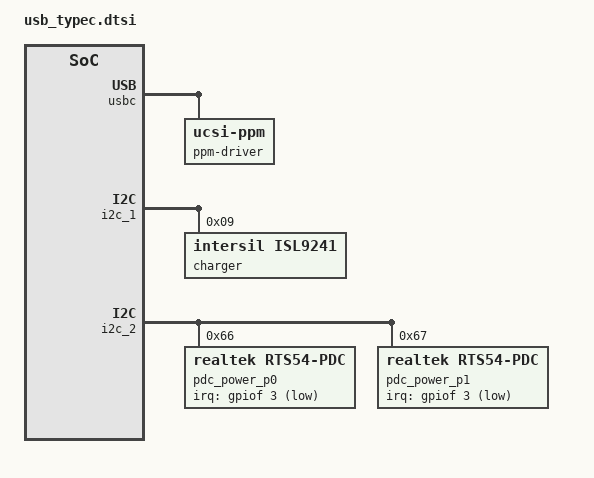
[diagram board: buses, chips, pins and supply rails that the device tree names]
/* Copyright 2025 The ChromiumOS Authors
 * Use of this source code is governed by a BSD-style license that can be
 * found in the LICENSE file.
 */

#include <usbc-policy.dtsi>

/ {
	usbc {
		#address-cells = <1>;
		#size-cells = <0>;

		usbc_port0: port0@0 {
			compatible = "named-usbc-port";
			reg = <0>;
			chg = <&charger>;
			pdc = <&pdc_power_p0>;
			pd-retimer;
			policy = <&cros_policy>;
		};
		usbc_port1: port1@1 {
			compatible = "named-usbc-port";
			reg = <1>;
			pdc = <&pdc_power_p1>;
			pd-retimer;
			policy = <&cros_policy>;
		};
		ppm-driver {
			compatible = "ucsi-ppm";
		};
	};
};

&i2c_1 {
	charger: isl9241@9 {
		compatible = "intersil,isl9241";
		status = "okay";
		reg = <0x9>;
	};
};

&i2c_2 {
	pdc_power_p0: rts54-pdc@66 {
		compatible = "realtek,rts54-pdc";
		reg = <0x66>;
		irq-gpios = <&gpiof 3 GPIO_ACTIVE_LOW>;
		ccd;
		usb4-capable-as-host;
	};
	pdc_power_p1: rts54-pdc@67 {
		compatible = "realtek,rts54-pdc";
		reg = <0x67>;
		irq-gpios = <&gpiof 3 GPIO_ACTIVE_LOW>;
		usb4-capable-as-host;
		no-fw-update;
	};
};
